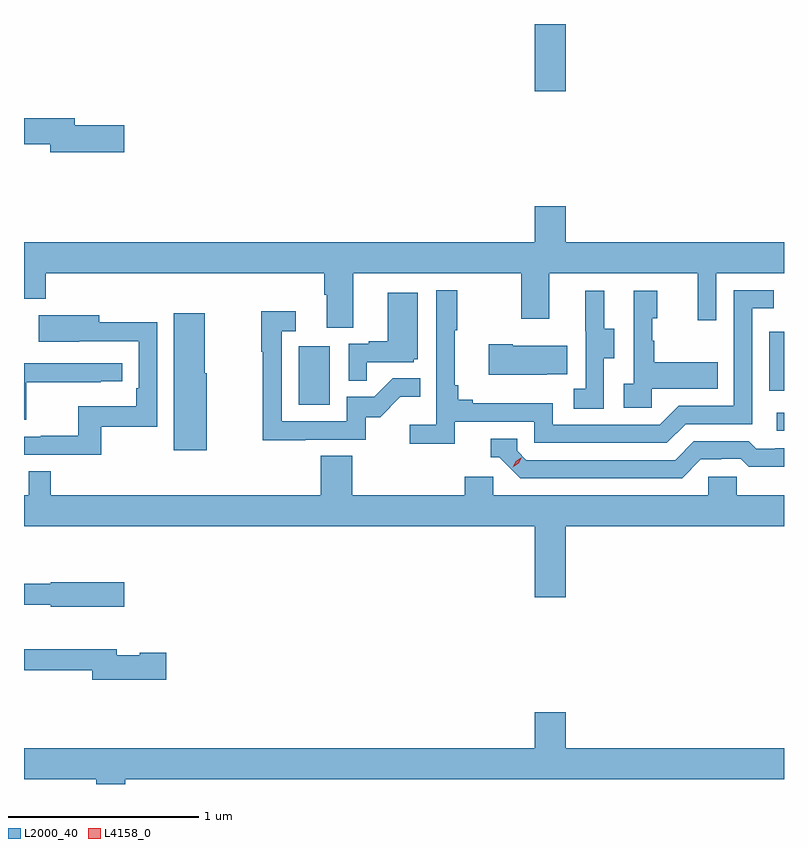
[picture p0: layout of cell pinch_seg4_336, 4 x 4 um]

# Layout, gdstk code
import gdstk
lib = gdstk.Library(unit=1e-6, precision=1e-09)
def R(c, l, rs):  # rectangles x0, y0, x1, y1
    for r in rs: c.add(gdstk.rectangle(r[:2], r[2:], *l))
def P(c, l, *ps):  # polygons
    for p in ps: c.add(gdstk.Polygon(p, *l))
L2000_40 = (2000, 40)
L4158_0 = (4158, 0)

pinch_seg4_336 = lib.new_cell('pinch_seg4_336')
R(pinch_seg4_336, L2000_40, [(1017.429,807.978,1017.468,808.074), (1014.914,808.116,1015.078,808.423), (1017.39,808.191,1017.468,808.5), (1016.156,809.766,1016.32,810.12)])
P(pinch_seg4_336, L2000_40, [(1013.995,809.588),(1013.734,809.588),(1013.734,809.624),(1013.468,809.624),(1013.468,809.488),(1013.606,809.488),(1013.606,809.446),(1013.995,809.446)],
  [(1015.201,808.808),(1016.086,808.808),(1016.086,808.569),(1016.233,808.569),(1016.233,808.808),(1017.014,808.808),(1017.014,808.56),(1017.111,808.56),(1017.111,808.808),(1017.468,808.808),(1017.468,808.972),(1016.32,808.972),(1016.32,809.161),(1016.156,809.161),(1016.156,808.972),(1013.468,808.972),(1013.468,808.673),(1013.582,808.673),(1013.582,808.808),(1015.049,808.808),(1015.049,808.696),(1015.061,808.696),(1015.061,808.522),(1015.201,808.522)],
  [(1015.736,808.026),(1016.154,808.026),(1016.154,807.915),(1016.851,807.915),(1016.95,808.014),(1017.3,808.014),(1017.3,808.623),(1017.413,808.623),(1017.413,808.719),(1017.204,808.719),(1017.204,808.11),(1016.913,808.11),(1016.814,808.011),(1016.25,808.011),(1016.25,808.123),(1015.831,808.123),(1015.831,808.142),(1015.754,808.142),(1015.754,808.219),(1015.735,808.219),(1015.735,808.507),(1015.747,808.507),(1015.747,808.72),(1015.638,808.72),(1015.638,808.012),(1015.497,808.012),(1015.497,807.91),(1015.736,807.91)],
  [(1016.52,808.36),(1016.575,808.36),(1016.575,808.515),(1016.521,808.515),(1016.521,808.717),(1016.423,808.717),(1016.423,808.503),(1016.424,808.503),(1016.424,808.199),(1016.361,808.199),(1016.361,808.096),(1016.52,808.096)],
  [(1016.772,808.199),(1017.119,808.199),(1017.119,808.339),(1016.785,808.339),(1016.785,808.454),(1016.775,808.454),(1016.775,808.572),(1016.8,808.572),(1016.8,808.717),(1016.676,808.717),(1016.676,808.226),(1016.625,808.226),(1016.625,808.101),(1016.772,808.101)],
  [(1015.271,808.341),(1015.518,808.341),(1015.518,808.356),(1015.54,808.356),(1015.54,808.705),(1015.382,808.705),(1015.382,808.45),(1015.283,808.45),(1015.283,808.437),(1015.176,808.437),(1015.176,808.243),(1015.271,808.243)],
  [(1014.947,807.933),(1015.266,807.933),(1015.266,808.05),(1015.342,808.05),(1015.449,808.157),(1015.553,808.157),(1015.553,808.256),(1015.409,808.256),(1015.311,808.158),(1015.167,808.158),(1015.167,808.029),(1014.825,808.029),(1014.825,808.503),(1014.898,808.503),(1014.898,808.609),(1014.717,808.609),(1014.717,808.396),(1014.724,808.396),(1014.724,807.928),(1014.947,807.928)],
  [(1014.43,808.281),(1014.418,808.281),(1014.418,808.597),(1014.257,808.597),(1014.257,807.876),(1014.43,807.876)],
  [(1013.875,807.999),(1014.168,807.999),(1014.168,808.55),(1013.863,808.55),(1013.863,808.588),(1013.545,808.588),(1013.545,808.448),(1013.759,808.448),(1013.759,808.449),(1014.072,808.449),(1014.072,808.204),(1014.059,808.204),(1014.059,808.108),(1013.754,808.108),(1013.754,807.953),(1013.557,807.953),(1013.557,807.948),(1013.468,807.948),(1013.468,807.852),(1013.875,807.852)],
  [(1016.219,808.277),(1016.327,808.277),(1016.327,808.426),(1016.041,808.426),(1016.041,808.434),(1015.913,808.434),(1015.913,808.274),(1016.219,808.274)],
  [(1013.48,808.234),(1013.873,808.234),(1013.873,808.239),(1013.986,808.239),(1013.986,808.335),(1013.468,808.335),(1013.468,808.038),(1013.48,808.038)],
  [(1017.031,807.828),(1017.138,807.828),(1017.138,807.831),(1017.241,807.831),(1017.283,807.789),(1017.468,807.789),(1017.468,807.888),(1017.421,807.888),(1017.421,807.885),(1017.322,807.885),(1017.283,807.924),(1016.994,807.924),(1016.895,807.825),(1016.112,807.825),(1016.064,807.873),(1016.064,807.936),(1015.925,807.936),(1015.925,807.84),(1015.968,807.84),(1016.079,807.729),(1016.932,807.729)],
  [(1016.32,807.476),(1017.468,807.476),(1017.468,807.64),(1017.219,807.64),(1017.219,807.738),(1017.069,807.738),(1017.069,807.64),(1015.938,807.64),(1015.938,807.738),(1015.787,807.738),(1015.787,807.64),(1015.196,807.64),(1015.196,807.848),(1015.031,807.848),(1015.031,807.64),(1013.609,807.64),(1013.609,807.767),(1013.493,807.767),(1013.493,807.64),(1013.468,807.64),(1013.468,807.476),(1016.156,807.476),(1016.156,807.102),(1016.32,807.102)],
  [(1013.995,807.183),(1013.61,807.183),(1013.61,807.175),(1013.468,807.175),(1013.468,807.064),(1013.61,807.064),(1013.61,807.053),(1013.995,807.053)],
  [(1014.217,806.81),(1014.078,806.81),(1014.078,806.797),(1013.956,806.797),(1013.956,806.829),(1013.468,806.829),(1013.468,806.718),(1013.828,806.718),(1013.828,806.668),(1014.217,806.668)],
  [(1014.001,806.144),(1017.468,806.144),(1017.468,806.308),(1016.32,806.308),(1016.32,806.497),(1016.156,806.497),(1016.156,806.308),(1013.468,806.308),(1013.468,806.144),(1013.849,806.144),(1013.849,806.12),(1014.001,806.12)])
P(pinch_seg4_336, L4158_0, [(1016.041,807.787),(1016.041,807.787),(1016.056,807.82),(1016.087,807.84),(1016.087,807.84),(1016.087,807.84),(1016.071,807.807),(1016.041,807.787)])

lib.write_gds('pinch_seg4_336.gds')
